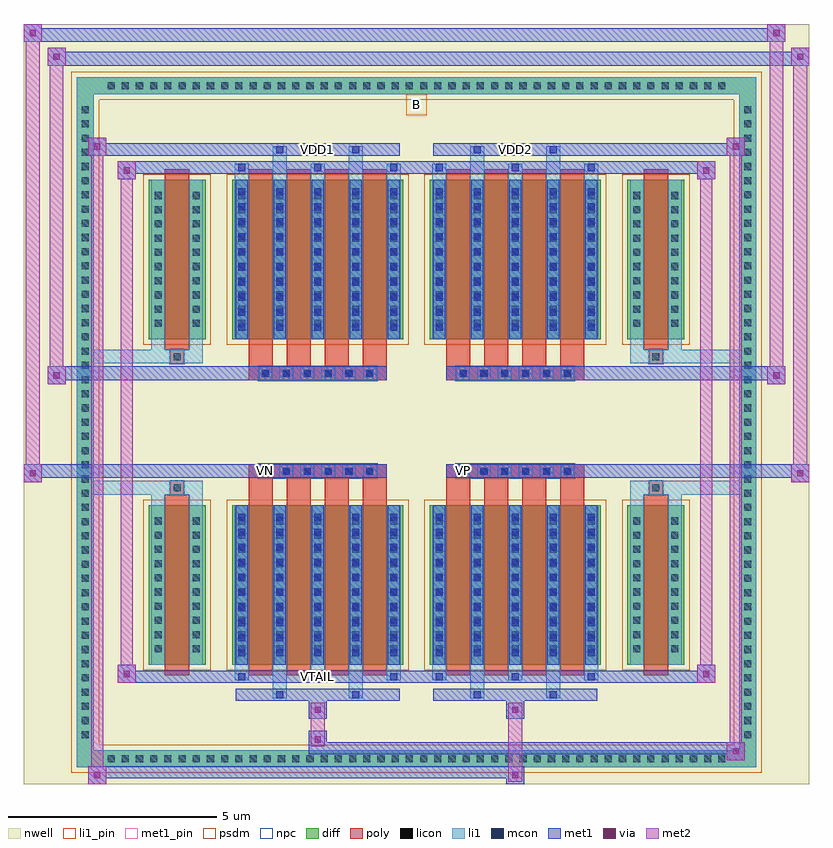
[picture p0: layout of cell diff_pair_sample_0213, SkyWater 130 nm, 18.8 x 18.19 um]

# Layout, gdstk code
import gdstk
lib = gdstk.Library(unit=1e-6, precision=5e-09)
def R(c, l, rs):  # rectangles x0, y0, x1, y1
    for r in rs: c.add(gdstk.rectangle(r[:2], r[2:], *l))
def A(c, l, x, y, w, h, nx, ny, dx, dy):  # array of equal rectangles
    R(c, l, [(x+i*dx, y+j*dy, x+i*dx+w, y+j*dy+h) for i in range(nx) for j in range(ny)])
def P(c, l, *ps):  # polygons
    for p in ps: c.add(gdstk.Polygon(p, *l))
nwell = (64, 20)
diff = (65, 20)
poly = (66, 20)
licon = (66, 44)
li1_pin = (67, 16)
li1 = (67, 20)
mcon = (67, 44)
met1_pin = (68, 16)
met1 = (68, 20)
via = (68, 44)
met2 = (69, 20)
psdm = (94, 20)
npc = (95, 20)

diff_pair_sample_0213 = lib.new_cell('diff_pair_sample_0213')
R(diff_pair_sample_0213, nwell, [(-9.4,-8.66,9.4,9.53), (-6.72,-6.85,-0.01,-0.805), (0.01,-6.85,6.72,-0.805), (-6.72,0.805,-0.01,6.85), (0.01,0.805,6.72,6.85)])
A(diff_pair_sample_0213, diff, -7.515, -8.26, 0.41, 0.41, 44, 2, 0.34, 16.11)
A(diff_pair_sample_0213, diff, -8.13, -7.685, 0.41, 0.41, 1, 45, 0, 0.34)
A(diff_pair_sample_0213, diff, 7.72, -7.685, 0.41, 0.41, 1, 45, 0, 0.34)
R(diff_pair_sample_0213, diff, [(-7.515,-8.26,7.515,-7.85), (-8.13,-7.685,-7.72,7.685), (7.72,-7.685,8.13,7.685), (-6.41,-5.805,-5.05,-1.985), (-4.41,-5.805,-0.32,-1.985), (0.32,-5.805,4.41,-1.985), (5.05,-5.805,6.41,-1.985), (-6.41,1.985,-5.05,5.805), (-4.41,1.985,-0.32,5.805), (0.32,1.985,4.41,5.805), (5.05,1.985,6.41,5.805), (-7.515,7.85,7.515,8.26)])
P(diff_pair_sample_0213, diff, [(8.13,8.26),(-8.13,8.26),(-8.13,-7.85),(-7.72,-7.85),(-7.72,7.85),(7.72,7.85),(7.72,-7.85),(-7.72,-7.85),(-8.13,-7.85),(-8.13,-8.26),(8.13,-8.26)])
A(diff_pair_sample_0213, poly, -4.02, -6.055, 0.58, 4.32, 4, 2, 0.91, 7.79)
A(diff_pair_sample_0213, poly, 0.71, -6.055, 0.58, 4.32, 4, 2, 0.91, 7.79)
A(diff_pair_sample_0213, poly, -4.02, -1.735, 0.58, 0.4, 4, 2, 0.91, 3.07)
A(diff_pair_sample_0213, poly, 0.71, -1.735, 0.58, 0.4, 4, 2, 0.91, 3.07)
A(diff_pair_sample_0213, poly, -3.78, -1.335, 0.33, 0.33, 6, 2, 0.5, 2.34)
A(diff_pair_sample_0213, poly, 0.95, -1.335, 0.33, 0.33, 6, 2, 0.5, 2.34)
R(diff_pair_sample_0213, poly, [(-6.02,-6.055,-5.44,-1.735), (5.44,-6.055,6.02,-1.735), (-5.895,-1.735,-5.565,-1.405), (-5.895,-1.735,-5.565,-1.405), (5.565,-1.735,5.895,-1.405), (5.565,-1.735,5.895,-1.405), (-4.02,-1.335,-0.71,-1.005), (0.71,-1.335,4.02,-1.005), (-4.02,1.005,-0.71,1.335), (0.71,1.005,4.02,1.335), (-5.895,1.405,-5.565,1.735), (-5.895,1.405,-5.565,1.735), (5.565,1.405,5.895,1.735), (5.565,1.405,5.895,1.735), (-6.02,1.735,-5.44,6.055), (5.44,1.735,6.02,6.055)])
A(diff_pair_sample_0213, licon, -7.395, -8.14, 0.17, 0.17, 44, 2, 0.34, 16.11)
A(diff_pair_sample_0213, licon, -8.01, -7.565, 0.17, 0.17, 1, 45, 0, 0.34)
A(diff_pair_sample_0213, licon, 7.84, -7.565, 0.17, 0.17, 1, 45, 0, 0.34)
A(diff_pair_sample_0213, licon, -6.27, -5.51, 0.17, 0.17, 1, 10, 0, 0.34)
A(diff_pair_sample_0213, licon, -5.36, -5.51, 0.17, 0.17, 1, 10, 0, 0.34)
A(diff_pair_sample_0213, licon, -4.27, -5.51, 0.17, 0.17, 5, 10, 0.91, 0.34)
A(diff_pair_sample_0213, licon, 0.46, -5.51, 0.17, 0.17, 5, 10, 0.91, 0.34)
A(diff_pair_sample_0213, licon, 5.19, -5.51, 0.17, 0.17, 1, 10, 0, 0.34)
A(diff_pair_sample_0213, licon, 6.1, -5.51, 0.17, 0.17, 1, 10, 0, 0.34)
A(diff_pair_sample_0213, licon, -3.7, -1.255, 0.17, 0.17, 6, 2, 0.5, 2.34)
A(diff_pair_sample_0213, licon, 1.03, -1.255, 0.17, 0.17, 6, 2, 0.5, 2.34)
A(diff_pair_sample_0213, licon, -6.27, 2.28, 0.17, 0.17, 1, 10, 0, 0.34)
A(diff_pair_sample_0213, licon, -5.36, 2.28, 0.17, 0.17, 1, 10, 0, 0.34)
A(diff_pair_sample_0213, licon, -4.27, 2.28, 0.17, 0.17, 5, 10, 0.91, 0.34)
A(diff_pair_sample_0213, licon, 0.46, 2.28, 0.17, 0.17, 5, 10, 0.91, 0.34)
A(diff_pair_sample_0213, licon, 5.19, 2.28, 0.17, 0.17, 1, 10, 0, 0.34)
A(diff_pair_sample_0213, licon, 6.1, 2.28, 0.17, 0.17, 1, 10, 0, 0.34)
R(diff_pair_sample_0213, licon, [(-5.815,-1.655,-5.645,-1.485), (5.645,-1.655,5.815,-1.485), (-5.815,1.485,-5.645,1.655), (5.645,1.485,5.815,1.655)])
R(diff_pair_sample_0213, li1_pin, [(-0.25,7.35,0.25,7.85)])
A(diff_pair_sample_0213, li1, -7.475, -8.22, 0.33, 0.33, 44, 2, 0.34, 16.11)
A(diff_pair_sample_0213, li1, -8.09, -7.645, 0.33, 0.33, 1, 45, 0, 0.34)
A(diff_pair_sample_0213, li1, 7.76, -7.645, 0.33, 0.33, 1, 45, 0, 0.34)
A(diff_pair_sample_0213, li1, -4.35, -6.18, 0.33, 0.375, 3, 2, 1.82, 11.985)
A(diff_pair_sample_0213, li1, -4.27, -6.18, 0.17, 0.17, 3, 2, 1.82, 12.19)
A(diff_pair_sample_0213, li1, 0.38, -6.18, 0.33, 0.375, 3, 2, 1.82, 11.985)
A(diff_pair_sample_0213, li1, 0.46, -6.18, 0.17, 0.17, 3, 2, 1.82, 12.19)
A(diff_pair_sample_0213, li1, -4.35, -5.805, 0.33, 3.82, 5, 2, 0.91, 7.79)
A(diff_pair_sample_0213, li1, 0.38, -5.805, 0.33, 3.82, 5, 2, 0.91, 7.79)
A(diff_pair_sample_0213, li1, -4.27, -5.6, 0.17, 0.17, 5, 10, 0.91, 0.36)
A(diff_pair_sample_0213, li1, -4.27, -5.6, 0.17, 3.41, 5, 2, 0.91, 7.79)
A(diff_pair_sample_0213, li1, 0.46, -5.6, 0.17, 0.17, 5, 10, 0.91, 0.36)
A(diff_pair_sample_0213, li1, 0.46, -5.6, 0.17, 3.41, 5, 2, 0.91, 7.79)
A(diff_pair_sample_0213, li1, -6.35, -5.59, 0.33, 0.33, 1, 10, 0, 0.34)
A(diff_pair_sample_0213, li1, -5.44, -5.59, 0.33, 0.33, 1, 10, 0, 0.34)
A(diff_pair_sample_0213, li1, -4.35, -5.59, 0.33, 0.33, 5, 10, 0.91, 0.34)
A(diff_pair_sample_0213, li1, 0.38, -5.59, 0.33, 0.33, 5, 10, 0.91, 0.34)
A(diff_pair_sample_0213, li1, 5.11, -5.59, 0.33, 0.33, 1, 10, 0, 0.34)
A(diff_pair_sample_0213, li1, 6.02, -5.59, 0.33, 0.33, 1, 10, 0, 0.34)
A(diff_pair_sample_0213, li1, -3.78, -1.335, 0.33, 0.33, 6, 2, 0.5, 2.34)
A(diff_pair_sample_0213, li1, 0.95, -1.335, 0.33, 0.33, 6, 2, 0.5, 2.34)
A(diff_pair_sample_0213, li1, -4.27, 2.19, 0.17, 0.17, 5, 10, 0.91, 0.36)
A(diff_pair_sample_0213, li1, 0.46, 2.19, 0.17, 0.17, 5, 10, 0.91, 0.36)
A(diff_pair_sample_0213, li1, -6.35, 2.2, 0.33, 0.33, 1, 10, 0, 0.34)
A(diff_pair_sample_0213, li1, -5.44, 2.2, 0.33, 0.33, 1, 10, 0, 0.34)
A(diff_pair_sample_0213, li1, -4.35, 2.2, 0.33, 0.33, 5, 10, 0.91, 0.34)
A(diff_pair_sample_0213, li1, 0.38, 2.2, 0.33, 0.33, 5, 10, 0.91, 0.34)
A(diff_pair_sample_0213, li1, 5.11, 2.2, 0.33, 0.33, 1, 10, 0, 0.34)
A(diff_pair_sample_0213, li1, 6.02, 2.2, 0.33, 0.33, 1, 10, 0, 0.34)
R(diff_pair_sample_0213, li1, [(-8.13,-8.26,-7.72,-7.85), (-8.13,-8.26,-7.72,-7.85), (-7.72,-8.26,7.72,-7.85), (7.72,-8.26,8.13,-7.85), (7.72,-8.26,8.13,-7.85), (-8.13,-7.85,-7.72,7.85), (7.72,-7.85,8.13,7.85), (-3.44,-6.61,-3.11,-5.805), (-3.36,-6.61,-3.19,-6.44), (-1.62,-6.61,-1.29,-5.805), (-1.54,-6.61,-1.37,-6.44), (1.29,-6.61,1.62,-5.805), (1.37,-6.61,1.54,-6.44), (3.11,-6.61,3.44,-5.805), (3.19,-6.61,3.36,-6.44), (-6.35,-5.805,-6.02,-1.985), (-5.44,-5.805,-5.11,-1.985), (5.11,-5.805,5.44,-1.985), (6.02,-5.805,6.35,-1.985), (-6.35,-1.985,-6.02,-1.405), (-5.44,-1.985,-5.11,-1.405), (5.11,-1.985,5.44,-1.405), (6.02,-1.985,6.35,-1.405), (-8.13,-1.735,-5.895,-1.405), (-6.35,-1.735,-5.895,-1.405), (-5.895,-1.735,-5.565,-1.405), (-5.565,-1.735,-5.11,-1.405), (5.11,-1.735,5.565,-1.405), (5.565,-1.735,5.895,-1.405), (5.565,-1.735,8.13,-1.405), (5.895,-1.735,6.35,-1.405), (-8.13,1.405,-5.895,1.735), (-6.35,1.405,-5.895,1.735), (-6.35,1.405,-6.02,1.985), (-5.895,1.405,-5.565,1.735), (-5.565,1.405,-5.11,1.735), (-5.44,1.405,-5.11,1.985), (5.11,1.405,5.565,1.735), (5.11,1.405,5.44,1.985), (5.565,1.405,5.895,1.735), (5.565,1.405,8.13,1.735), (5.895,1.405,6.35,1.735), (6.02,1.405,6.35,1.985), (-6.35,1.985,-6.02,5.805), (-5.44,1.985,-5.11,5.805), (5.11,1.985,5.44,5.805), (6.02,1.985,6.35,5.805), (-3.44,5.805,-3.11,6.61), (-1.62,5.805,-1.29,6.61), (1.29,5.805,1.62,6.61), (3.11,5.805,3.44,6.61), (-3.36,6.44,-3.19,6.61), (-1.54,6.44,-1.37,6.61), (1.37,6.44,1.54,6.61), (3.19,6.44,3.36,6.61), (-8.13,7.85,-7.72,8.26), (-8.13,7.85,-7.72,8.26), (-7.72,7.85,7.72,8.26), (7.72,7.85,8.13,8.26), (7.72,7.85,8.13,8.26)])
A(diff_pair_sample_0213, mcon, -4.27, -6.18, 0.17, 0.17, 3, 2, 1.82, 12.19)
A(diff_pair_sample_0213, mcon, 0.46, -6.18, 0.17, 0.17, 3, 2, 1.82, 12.19)
A(diff_pair_sample_0213, mcon, -4.27, -5.6, 0.17, 0.17, 5, 10, 0.91, 0.36)
A(diff_pair_sample_0213, mcon, 0.46, -5.6, 0.17, 0.17, 5, 10, 0.91, 0.36)
A(diff_pair_sample_0213, mcon, -3.7, -1.255, 0.17, 0.17, 6, 2, 0.5, 2.34)
A(diff_pair_sample_0213, mcon, 1.03, -1.255, 0.17, 0.17, 6, 2, 0.5, 2.34)
A(diff_pair_sample_0213, mcon, -4.27, 2.19, 0.17, 0.17, 5, 10, 0.91, 0.36)
A(diff_pair_sample_0213, mcon, 0.46, 2.19, 0.17, 0.17, 5, 10, 0.91, 0.36)
R(diff_pair_sample_0213, mcon, [(-3.36,-6.61,-3.19,-6.44), (-1.54,-6.61,-1.37,-6.44), (1.37,-6.61,1.54,-6.44), (3.19,-6.61,3.36,-6.44), (-3.36,6.44,-3.19,6.61), (-1.54,6.44,-1.37,6.61), (1.37,6.44,1.54,6.61), (3.19,6.44,3.36,6.61)])
R(diff_pair_sample_0213, met1_pin, [(-2.5,-6.22,-2.23,-5.95), (-3.75,-1.295,-3.48,-1.025), (0.98,-1.295,1.25,-1.025), (-2.5,6.4,-2.23,6.67), (2.23,6.4,2.5,6.67)])
A(diff_pair_sample_0213, met1, -4.33, -6.24, 0.29, 0.29, 3, 2, 1.82, 12.19)
A(diff_pair_sample_0213, met1, 0.4, -6.24, 0.29, 0.29, 3, 2, 1.82, 12.19)
A(diff_pair_sample_0213, met1, -4.33, -5.805, 0.29, 3.82, 5, 2, 0.91, 7.79)
A(diff_pair_sample_0213, met1, 0.4, -5.805, 0.29, 3.82, 5, 2, 0.91, 7.79)
A(diff_pair_sample_0213, met1, -4.33, -5.66, 0.29, 0.29, 5, 10, 0.91, 0.36)
A(diff_pair_sample_0213, met1, 0.4, -5.66, 0.29, 0.29, 5, 10, 0.91, 0.36)
A(diff_pair_sample_0213, met1, -3.76, -1.315, 0.29, 0.29, 6, 2, 0.5, 2.34)
A(diff_pair_sample_0213, met1, 0.97, -1.315, 0.29, 0.29, 6, 2, 0.5, 2.34)
A(diff_pair_sample_0213, met1, -4.33, 2.13, 0.29, 0.29, 5, 10, 0.91, 0.36)
A(diff_pair_sample_0213, met1, 0.4, 2.13, 0.29, 0.29, 5, 10, 0.91, 0.36)
R(diff_pair_sample_0213, met1, [(-7.86,-8.66,-7.43,-8.23), (2.15,-8.66,2.58,-8.23), (-7.86,-8.52,2.58,-8.23), (7.43,-8.09,7.86,-7.66), (-2.58,-7.95,7.86,-7.66), (-2.58,-7.81,-2.15,-7.38), (-2.58,-7.1,-2.15,-6.67), (2.15,-7.1,2.58,-6.67), (-4.33,-6.67,-0.4,-6.38), (-3.42,-6.67,-3.13,-6.38), (-1.6,-6.67,-1.31,-6.38), (0.4,-6.67,4.33,-6.38), (1.31,-6.67,1.6,-6.38), (3.13,-6.67,3.42,-6.38), (-7.15,-6.24,-6.72,-5.81), (-7.15,-6.24,-4.33,-5.95), (-4.33,-6.24,-0.4,-5.95), (-0.4,-6.24,0.4,-5.95), (0.4,-6.24,4.33,-5.95), (4.33,-6.24,7.15,-5.95), (6.72,-6.24,7.15,-5.81), (-9.4,-1.435,-8.97,-1.005), (8.97,-1.435,9.4,-1.005), (-9.4,-1.335,-0.71,-1.005), (-4.02,-1.335,-0.71,-1.005), (0.71,-1.335,4.02,-1.005), (0.71,-1.335,9.4,-1.005), (-8.83,0.905,-8.4,1.335), (8.4,0.905,8.83,1.335), (-8.83,1.005,-4.02,1.335), (-4.02,1.005,-0.71,1.335), (0.71,1.005,4.02,1.335), (4.02,1.005,8.83,1.335), (-7.15,5.81,-6.72,6.24), (6.72,5.81,7.15,6.24), (-7.15,5.95,-4.33,6.24), (-4.33,5.95,-0.4,6.24), (-0.4,5.95,0.4,6.24), (0.4,5.95,4.33,6.24), (4.33,5.95,7.15,6.24), (-7.86,6.38,-7.43,6.81), (-7.86,6.38,-4.33,6.67), (-4.33,6.38,-0.4,6.67), (-3.42,6.38,-3.13,6.67), (-1.6,6.38,-1.31,6.67), (0.4,6.38,4.33,6.67), (1.31,6.38,1.6,6.67), (3.13,6.38,3.42,6.67), (4.33,6.38,7.86,6.67), (7.43,6.38,7.86,6.81), (-8.83,8.53,-8.4,8.96), (-8.83,8.53,-6.72,8.86), (-6.72,8.53,6.72,8.86), (6.72,8.53,9.4,8.86), (8.97,8.53,9.4,8.96), (-9.4,9.1,-8.97,9.53), (-9.4,9.1,-6.72,9.43), (-6.72,9.1,6.72,9.43), (6.72,9.1,8.83,9.43), (8.4,9.1,8.83,9.53)])
R(diff_pair_sample_0213, via, [(-7.72,-8.52,-7.57,-8.37), (2.29,-8.52,2.44,-8.37), (7.57,-7.95,7.72,-7.8), (-2.44,-7.67,-2.29,-7.52), (-2.44,-6.96,-2.29,-6.81), (2.29,-6.96,2.44,-6.81), (-7.01,-6.1,-6.86,-5.95), (6.86,-6.1,7.01,-5.95), (-9.26,-1.295,-9.11,-1.145), (9.11,-1.295,9.26,-1.145), (-8.69,1.045,-8.54,1.195), (8.54,1.045,8.69,1.195), (-7.01,5.95,-6.86,6.1), (6.86,5.95,7.01,6.1), (-7.72,6.52,-7.57,6.67), (7.57,6.52,7.72,6.67), (-8.69,8.67,-8.54,8.82), (9.11,8.67,9.26,8.82), (-9.26,9.24,-9.11,9.39), (8.54,9.24,8.69,9.39)])
R(diff_pair_sample_0213, met2, [(-7.86,-8.66,-7.43,-8.23), (-7.79,-8.66,-7.5,6.81), (-7.5,-8.66,-7.43,-8.23), (-7.81,-8.61,-7.48,-8.28), (2.2,-8.61,2.53,-8.28), (2.2,-8.28,2.53,-7.05), (7.43,-8.09,7.86,-7.66), (7.5,-8.09,7.79,6.81), (7.79,-8.09,7.86,-7.66), (7.48,-8.04,7.81,-7.71), (-2.53,-7.76,-2.2,-7.43), (-2.53,-7.43,-2.2,-7.05), (-2.53,-7.05,-2.2,-6.72), (2.2,-7.05,2.53,-6.72), (-7.15,-6.24,-6.72,-5.81), (-7.08,-6.24,-6.79,6.24), (-6.79,-6.24,-6.72,-5.81), (6.72,-6.24,7.15,-5.81), (6.79,-6.24,7.08,6.24), (7.08,-6.24,7.15,-5.81), (-7.1,-6.19,-6.77,-5.86), (6.77,-6.19,7.1,-5.86), (-9.4,-1.435,-8.97,-1.005), (-9.35,-1.435,-9.02,9.53), (-9.02,-1.435,-8.97,-1.005), (8.97,-1.435,9.4,-1.005), (9.02,-1.435,9.35,8.96), (9.35,-1.435,9.4,-1.005), (-9.35,-1.385,-9.02,-1.055), (9.02,-1.385,9.35,-1.055), (-8.83,0.905,-8.4,1.335), (-8.78,0.905,-8.45,8.96), (-8.45,0.905,-8.4,1.335), (8.4,0.905,8.83,1.335), (8.45,0.905,8.78,9.53), (8.78,0.905,8.83,1.335), (-8.78,0.955,-8.45,1.285), (8.45,0.955,8.78,1.285), (-7.15,5.81,-6.72,6.24), (-6.79,5.81,-6.72,6.24), (6.72,5.81,7.15,6.24), (7.08,5.81,7.15,6.24), (-7.1,5.86,-6.77,6.19), (6.77,5.86,7.1,6.19), (-7.86,6.38,-7.43,6.81), (-7.5,6.38,-7.43,6.81), (7.43,6.38,7.86,6.81), (7.79,6.38,7.86,6.81), (-7.81,6.43,-7.48,6.76), (7.48,6.43,7.81,6.76), (-8.83,8.53,-8.4,8.96), (-8.45,8.53,-8.4,8.96), (8.97,8.53,9.4,8.96), (9.35,8.53,9.4,8.96), (-8.78,8.58,-8.45,8.91), (9.02,8.58,9.35,8.91), (-9.4,9.1,-8.97,9.53), (-9.02,9.1,-8.97,9.53), (8.4,9.1,8.83,9.53), (8.78,9.1,8.83,9.53), (-9.35,9.15,-9.02,9.48), (8.45,9.15,8.78,9.48)])
R(diff_pair_sample_0213, psdm, [(-6.54,-5.935,-4.92,-1.855), (-4.54,-5.935,-0.19,-1.855), (0.19,-5.935,4.54,-1.855), (4.92,-5.935,6.54,-1.855), (-6.54,1.855,-4.92,5.935), (-4.54,1.855,-0.19,5.935), (0.19,1.855,4.54,5.935), (4.92,1.855,6.54,5.935)])
P(diff_pair_sample_0213, psdm, [(8.26,8.39),(-8.26,8.39),(-8.26,-7.72),(-7.59,-7.72),(-7.59,7.72),(7.59,7.72),(7.59,-7.72),(-7.59,-7.72),(-8.26,-7.72),(-8.26,-8.39),(8.26,-8.39)])
A(diff_pair_sample_0213, npc, -3.8, -1.355, 0.37, 0.37, 6, 2, 0.5, 2.34)
A(diff_pair_sample_0213, npc, 0.93, -1.355, 0.37, 0.37, 6, 2, 0.5, 2.34)
R(diff_pair_sample_0213, npc, [(-5.915,-1.755,-5.545,-1.385), (5.545,-1.755,5.915,-1.385), (-3.8,-1.355,-2.93,-0.985), (-3.8,-1.355,-2.93,-0.985), (-3.3,-1.355,-2.43,-0.985), (-3.3,-1.355,-2.43,-0.985), (-2.8,-1.355,-1.93,-0.985), (-2.8,-1.355,-1.93,-0.985), (-2.3,-1.355,-1.43,-0.985), (-2.3,-1.355,-1.43,-0.985), (-1.8,-1.355,-0.93,-0.985), (-1.8,-1.355,-0.93,-0.985), (0.93,-1.355,1.8,-0.985), (0.93,-1.355,1.8,-0.985), (1.43,-1.355,2.3,-0.985), (1.43,-1.355,2.3,-0.985), (1.93,-1.355,2.8,-0.985), (1.93,-1.355,2.8,-0.985), (2.43,-1.355,3.3,-0.985), (2.43,-1.355,3.3,-0.985), (2.93,-1.355,3.8,-0.985), (2.93,-1.355,3.8,-0.985), (-3.8,0.985,-2.93,1.355), (-3.8,0.985,-2.93,1.355), (-3.3,0.985,-2.43,1.355), (-3.3,0.985,-2.43,1.355), (-2.8,0.985,-1.93,1.355), (-2.8,0.985,-1.93,1.355), (-2.3,0.985,-1.43,1.355), (-2.3,0.985,-1.43,1.355), (-1.8,0.985,-0.93,1.355), (-1.8,0.985,-0.93,1.355), (0.93,0.985,1.8,1.355), (0.93,0.985,1.8,1.355), (1.43,0.985,2.3,1.355), (1.43,0.985,2.3,1.355), (1.93,0.985,2.8,1.355), (1.93,0.985,2.8,1.355), (2.43,0.985,3.3,1.355), (2.43,0.985,3.3,1.355), (2.93,0.985,3.8,1.355), (2.93,0.985,3.8,1.355), (-5.915,1.385,-5.545,1.755), (5.545,1.385,5.915,1.755)])
diff_pair_sample_0213.add(gdstk.Label('VTAIL', (-2.365,-6.085), layer=68, texttype=5))
diff_pair_sample_0213.add(gdstk.Label('VN', (-3.615,-1.16), layer=68, texttype=5))
diff_pair_sample_0213.add(gdstk.Label('VP', (1.115,-1.16), layer=68, texttype=5))
diff_pair_sample_0213.add(gdstk.Label('B', (0,7.6), layer=67, texttype=5))
diff_pair_sample_0213.add(gdstk.Label('VDD2', (2.365,6.535), layer=68, texttype=5))
diff_pair_sample_0213.add(gdstk.Label('VDD1', (-2.365,6.535), layer=68, texttype=5))

lib.write_gds('diff_pair_sample_0213.gds')
